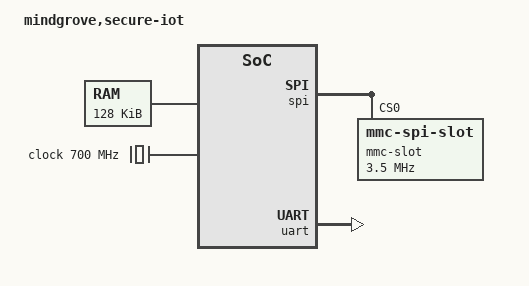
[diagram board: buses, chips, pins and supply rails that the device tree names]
/dts-v1/;

/ {
  #address-cells = <2>;
  #size-cells = <2>;
  compatible = "mindgrove,socs";
  model = "mindgrove,secure-iot";
  cpus {
    #address-cells = <1>;
    #size-cells = <0>;
    timebase-frequency = <32768>;
    CPU0: cpu@0 {
      device_type = "cpu";
      reg = <0>;
      status = "okay";
      compatible = "riscv";
      riscv,isa = "rv64imafdc";
      mmu-type = "riscv,sv39";
      clock-frequency = <700000000>;
      CPU0_intc: interrupt-controller {
        #interrupt-cells = <1>;
        interrupt-controller;
        compatible = "riscv,cpu-intc";
      };
    };
  };
  memory@80000000 {
    device_type = "memory";
    reg = <0x0 0x80000000 0x0  0x00020000>;
  };
  soc {
    #address-cells = <2>;
    #size-cells = <2>;
    compatible = "mindgrove,secure-iot-soc", "simple-bus";
    ranges;
    clint@2000000 {
      compatible = "riscv,clint0";
      interrupts-extended = <&CPU0_intc 3 &CPU0_intc 7 >;
      reg = <0x0 0x2000000 0x0 0xc0000>;
    };
   clock: oscillator {
     #clock-cells = <0>;
     compatible = "fixed-clock";
     clock-frequency = <700000000>;
   };
   spi:spi@20100{
     compatible = "shakti,spi1";
     reg = <0x0 0x20100 0x0 0x100>;
     clocks = <&clock>;			// Reference to Hardware Clock
     shakti,controller = <1>;                  // 1 for MASTER and 0 for SLAVE...
     shakti,spi-frequency = <3500000>;	// SPI Working Frequency
     shakti,lsb-first = <0x0>;                 // 1 for LSB first and 0 for MSB first... 
     shakti,communication-mode = <0x3>;        // Communication Mode 0-3 value. Other values cause the driver to fail.
     shakti,cs-high = <0x1>;			// Chip-select active
     shakti,fifo-depth = <16>;			// The FIFO length value in bytes (32 level cannot be used here).
     mmc-slot@0 {
       compatible = "mmc-spi-slot";
       reg = <0>;
       voltage-ranges = <3300 3300>;
       spi-max-frequency = <3500000>;  	 // This value should be greater than shakti,spi-frequency
     };
   };
  };
 uart {
  compatible = "mindgrove,uart0";
  reg= <0x0 0x11300 0x0 0x1000>;
 };
};
